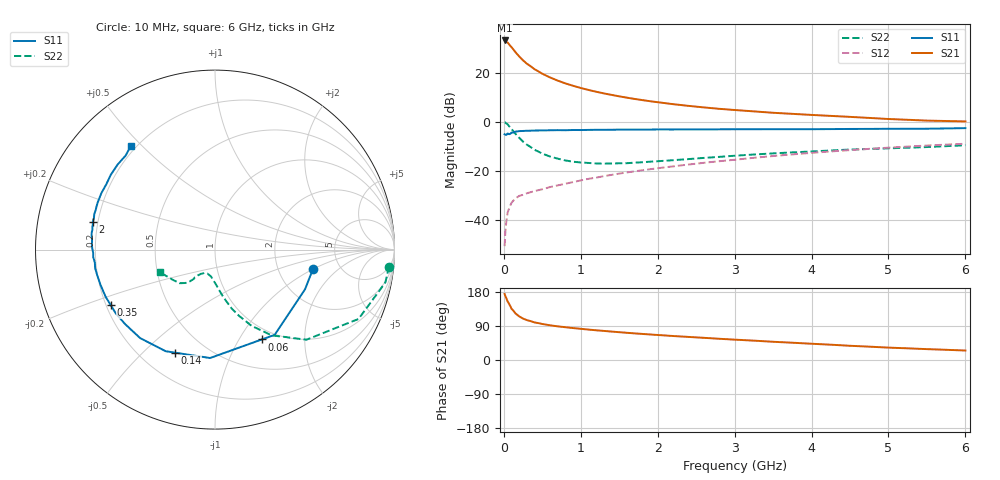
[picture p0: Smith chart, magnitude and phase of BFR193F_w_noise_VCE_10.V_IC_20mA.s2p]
! Infineon Technologies  Discrete & RF Semiconductors
! BFR193F
! VCE =  10. V,  IC =  20 mA
! Common Emitter S-Parameters:  Jan 2017
# GHz  S  MA  R  50
!  f  S11  S21  S12  S22
! GHz  MAG  ANG  MAG  ANG  MAG  ANG  MAG  ANG
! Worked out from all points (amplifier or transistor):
!   77 points, 10 MHz to 6 GHz, reference 50 ohm
!   highest |S21| = 33.2 dB at 10 MHz (marker M1)
!   |S21| within 3 dB of that: start of sweep to 107 MHz
!   unconditionally stable (mu >= 1): 1.354 GHz to 2.717 GHz
!   at 130 MHz: K = 0.28, MSG = 30.6 dB, |S12| = -32.0 dB
!   at 2.2 GHz: K = 1.03, MAG = 11.7 dB, |S12| = -18.2 dB
!   at 6 GHz: K = 0.83, MSG = 4.6 dB, |S12| = -9.0 dB
!   lowest NFmin = 1.04 dB at 450 MHz
!   S11 on the Smith chart (normalised r, x): 10 MHz: 3.16, -1.00; 60 MHz: 0.85, -1.26; 140 MHz: 0.34, -0.63; 350 MHz: 0.22, -0.24; 2 GHz: 0.18, +0.11; 6 GHz: 0.18, +0.46
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0.01  0.5561 -11.3  45.69 174.4  0.0029 83.4  0.9737 -5.6
0.02  0.5483 -23.8  44.69 168.7  0.0057 82.0  0.9669 -10.9
0.05  0.5798 -55.0  41.39 154.1  0.0142 70.0  0.8881 -25.8
0.06  0.5645 -62.5  39.49 151.0  0.0157 65.8  0.8471 -28.9
0.1  0.6047 -92.6  33.39 135.2  0.0223 55.2  0.715 -44.6
0.14  0.6164 -111.4  27.76 126.0  0.0262 50.1  0.5981 -53.8
0.15  0.6293 -115.9  26.5 123.1  0.0272 49.1  0.5718 -56.6
0.2  0.6458 -130.2  21.54 115.0  0.0308 46.3  0.4709 -64.4
0.25  0.6504 -140.3  17.91 109.3  0.0324 45.8  0.3931 -70.0
0.3  0.6572 -147.2  15.33 105.2  0.0348 45.3  0.3412 -74.2
0.35  0.6582 -152.0  13.54 102.5  0.0367 45.9  0.3044 -76.8
0.4  0.6638 -156.8  11.8 99.1  0.0386 46.5  0.2684 -80.1
0.5  0.6675 -163.0  9.57 95.0  0.0421 50.1  0.2241 -84.5
0.6  0.6715 -167.6  8.043 91.6  0.0466 53.2  0.1956 -88.2
0.8  0.6734 -173.9  6.079 86.5  0.0545 57.1  0.1628 -95.1
1.1  0.6836 179.6  4.465 80.3  0.0686 62.4  0.1447 -103.3
2  0.698 167.3  2.51 66.0  0.1129 69.0  0.1568 -120.4
2.1  0.6975 166.4  2.399 64.7  0.118 69.4  0.1607 -121.2
3.1  0.7046 157.3  1.697 52.7  0.1744 70.8  0.2077 -126.5
4.1  0.7078 148.1  1.357 41.9  0.2387 68.7  0.253 -132.6
5.1  0.7203 137.8  1.124 31.9  0.3028 64.2  0.291 -145.2
6  0.7431 129.1  1.019 25.0  0.3568 59.2  0.3327 -157.8
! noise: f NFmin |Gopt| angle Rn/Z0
0.45  1.04  0.33  168  0.06
0.9  1.12  0.39  169  0.07
1.9  1.71  0.57  -171  0.06
2.4  2.01  0.61  -161  0.1
